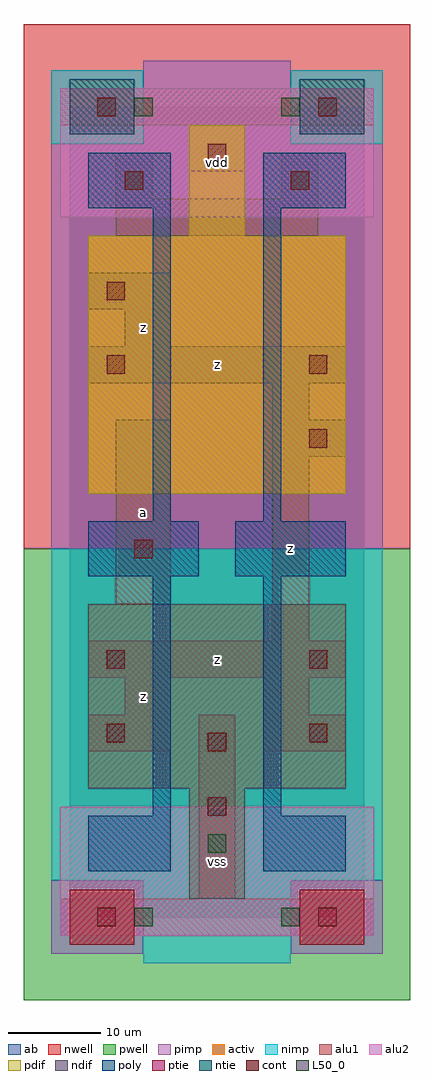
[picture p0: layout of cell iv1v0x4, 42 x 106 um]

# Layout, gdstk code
import gdstk
lib = gdstk.Library(unit=1e-6, precision=1e-09)
def R(c, l, rs):  # rectangles x0, y0, x1, y1
    for r in rs: c.add(gdstk.rectangle(r[:2], r[2:], *l))
ndif = (3, 0)
pdif = (4, 0)
ntie = (5, 0)
ptie = (6, 0)
cont = (25, 0)
pwell = (41, 0)
nwell = (42, 0)
activ = (43, 0)
pimp = (44, 0)
nimp = (45, 0)
poly = (46, 0)
alu1 = (49, 0)
L50_0 = (50, 0)
alu2 = (51, 0)
ab = (63, 0)

iv1v0x4 = lib.new_cell('iv1v0x4')
R(iv1v0x4, ndif, [(13,2,19,14), (2,14,30,34)])
R(iv1v0x4, pdif, [(2,46,30,74), (13,74,19,86)])
R(iv1v0x4, ntie, [(0,85,7,91), (25,85,32,91)])
R(iv1v0x4, ptie, [(0,-3,7,3), (25,-3,32,3)])
R(iv1v0x4, cont, [(3,-1,5,1), (27,-1,29,1), (15,11,17,13), (15,18,17,20), (4,19,6,21), (26,19,28,21), (4,27,6,29), (26,27,28,29), (7,39,9,41), (26,51,28,53), (4,59,6,61), (26,59,28,61), (4,67,6,69), (6,79,8,81), (24,79,26,81), (15,82,17,84), (3,87,5,89), (27,87,29,89)])
R(iv1v0x4, pwell, [(-5,-9,37,40)])
R(iv1v0x4, nwell, [(-5,40,37,97)])
R(iv1v0x4, activ, [(0,-3,7,3), (25,-3,32,3), (13,2,19,14), (2,14,30,34), (2,46,30,74), (13,74,19,86), (0,85,7,91), (25,85,32,91)])
R(iv1v0x4, pimp, [(-2,-4,8,4), (24,-4,34,4), (-2,40,34,84), (8,84,24,93)])
R(iv1v0x4, nimp, [(8,-5,24,4), (-2,4,34,40), (-2,84,8,92), (24,84,34,92)])
R(iv1v0x4, poly, [(2,5,11,11), (21,5,30,11), (9,11,11,37), (21,11,23,37), (2,37,14,43), (18,37,30,43), (9,43,11,77), (21,43,23,77), (2,77,11,83), (21,77,30,83)])
R(iv1v0x4, alu1, [(-1,-2,33,2), (14,2,18,22), (2,18,11,22), (21,18,30,22), (6,22,11,26), (21,22,26,26), (2,26,30,30), (22,30,26,50), (5,34,11,54), (22,50,30,54), (22,54,26,58), (2,58,30,62), (6,62,11,66), (2,66,11,70), (5,74,27,78), (5,78,9,83), (23,78,27,83), (13,81,19,86), (-1,86,33,90)])
R(iv1v0x4, L50_0, [(7,-1,9,1), (23,-1,25,1), (15,7,17,9), (7,87,9,89), (23,87,25,89)])
R(iv1v0x4, alu2, [(-1,-2,33,12), (-1,76,33,90)])
R(iv1v0x4, ab, [(0,0,32,88)])
iv1v0x4.add(gdstk.Label('z', (8,24), layer=49, texttype=0))
iv1v0x4.add(gdstk.Label('a', (8,44), layer=49, texttype=0))
iv1v0x4.add(gdstk.Label('z', (8,64), layer=49, texttype=0))
iv1v0x4.add(gdstk.Label('z', (16,28), layer=49, texttype=0))
iv1v0x4.add(gdstk.Label('z', (16,60), layer=49, texttype=0))
iv1v0x4.add(gdstk.Label('z', (24,40), layer=49, texttype=0))
iv1v0x4.add(gdstk.Label('vss', (16,6), layer=51, texttype=0))
iv1v0x4.add(gdstk.Label('vdd', (16,82), layer=51, texttype=0))

lib.write_gds('iv1v0x4.gds')
